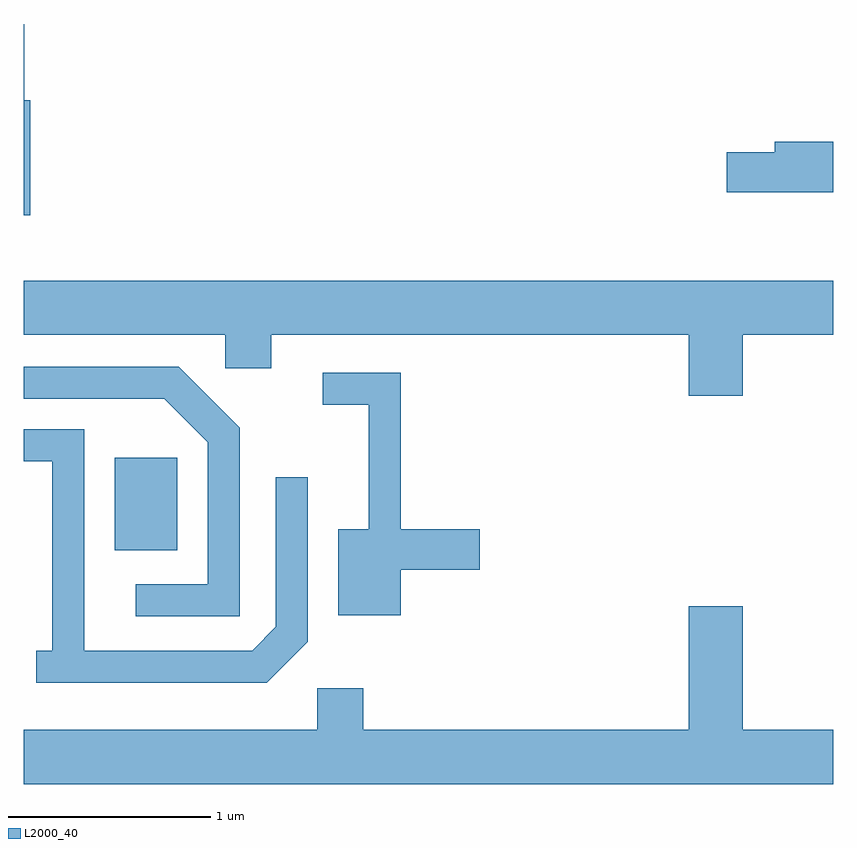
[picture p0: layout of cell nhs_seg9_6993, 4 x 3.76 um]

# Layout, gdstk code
import gdstk
lib = gdstk.Library(unit=1e-6, precision=1e-09)
def R(c, l, rs):  # rectangles x0, y0, x1, y1
    for r in rs: c.add(gdstk.rectangle(r[:2], r[2:], *l))
def P(c, l, *ps):  # polygons
    for p in ps: c.add(gdstk.Polygon(p, *l))
L2000_40 = (2000, 40)

nhs_seg9_6993 = lib.new_cell('nhs_seg9_6993')
R(nhs_seg9_6993, L2000_40, [(392.061,2021.831,392.369,2022.289)])
P(nhs_seg9_6993, L2000_40, [(391.644,2024.054),(391.614,2024.054),(391.614,2024.432),(391.611,2024.432),(391.611,2023.486),(391.644,2023.486)],
  [(395.611,2023.849),(395.321,2023.849),(395.321,2023.799),(395.086,2023.799),(395.086,2023.601),(395.611,2023.601)],
  [(395.164,2022.896),(395.611,2022.896),(395.611,2023.164),(391.611,2023.164),(391.611,2022.896),(392.606,2022.896),(392.606,2022.731),(392.834,2022.731),(392.834,2022.896),(394.896,2022.896),(394.896,2022.596),(395.164,2022.596)],
  [(392.679,2022.437),(392.377,2022.739),(391.611,2022.739),(391.611,2022.581),(392.304,2022.581),(392.521,2022.364),(392.521,2021.664),(392.163,2021.664),(392.163,2021.506),(392.679,2021.506)],
  [(393.474,2021.736),(393.864,2021.736),(393.864,2021.934),(393.474,2021.934),(393.474,2022.709),(393.088,2022.709),(393.088,2022.551),(393.316,2022.551),(393.316,2021.934),(393.166,2021.934),(393.166,2021.511),(393.474,2021.511)],
  [(393.014,2021.379),(393.014,2022.193),(392.856,2022.193),(392.856,2021.452),(392.739,2021.334),(391.909,2021.334),(391.909,2022.429),(391.611,2022.429),(391.611,2022.271),(391.751,2022.271),(391.751,2021.334),(391.673,2021.334),(391.673,2021.176),(392.812,2021.176)],
  [(395.611,2020.944),(395.164,2020.944),(395.164,2021.554),(394.896,2021.554),(394.896,2020.944),(393.289,2020.944),(393.289,2021.149),(393.061,2021.149),(393.061,2020.944),(391.611,2020.944),(391.611,2020.676),(395.611,2020.676)])

lib.write_gds('nhs_seg9_6993.gds')
